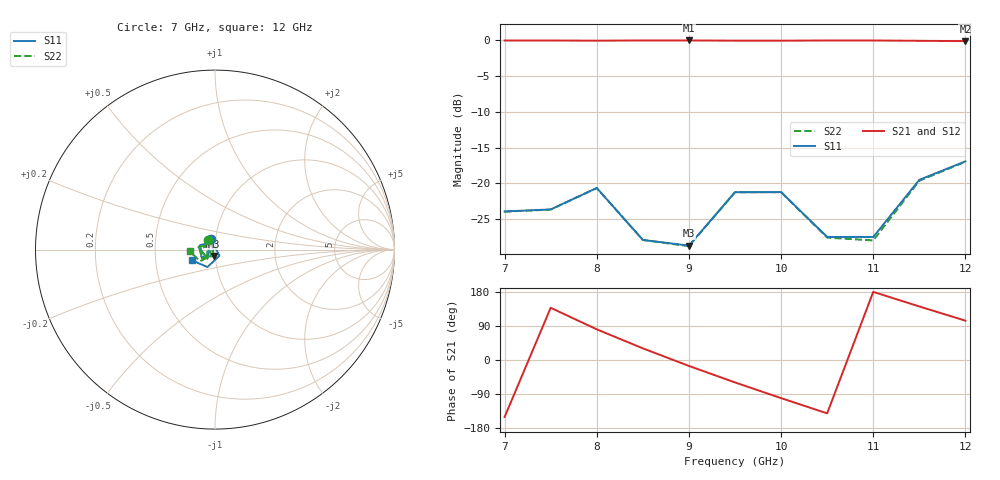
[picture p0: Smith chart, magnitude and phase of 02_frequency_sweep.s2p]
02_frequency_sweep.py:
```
#!/usr/bin/env python3
"""
Example 02: Frequency Sweep Analysis

This example demonstrates broadband S-parameter analysis across the WR-90
waveguide passband (7-12 GHz), computing S-parameters at multiple frequencies
and plotting the results.

Steps:
1. Load mesh and set up ports
2. Sweep frequency from 7 to 12 GHz
3. Compute S-parameters at each frequency point
4. Plot |S11| and |S21| vs frequency
5. Export to Touchstone format

Requirements:
    - EdgeFEM built with EDGEFEM_PYTHON=ON
    - matplotlib for plotting (optional)
    - Mesh file: examples/rect_waveguide.msh
"""

import numpy as np
from pathlib import Path
import sys

try:
    import pyedgefem as em
except ImportError:
    print("Error: pyedgefem not found. Build EdgeFEM with -DEDGEFEM_PYTHON=ON")
    raise


def main():
    """Run frequency sweep analysis."""

    script_dir = Path(__file__).parent

    print("=" * 60)
    print("EdgeFEM Example 02: Frequency Sweep Analysis")
    print("=" * 60)

    # ========================================================================
    # STEP 1: Load Mesh and Set Up Ports
    # ========================================================================
    print("\n1. Setting up simulation...")

    mesh_path = script_dir / "rect_waveguide.msh"
    mesh = em.load_gmsh(str(mesh_path))
    bc = em.build_edge_pec(mesh, 1)

    # WR-90 waveguide
    a = 0.02286  # width
    b = 0.01016  # height
    L = 0.05     # length
    port = em.RectWaveguidePort(a, b)

    # Extract port surfaces
    port1_surface = em.extract_surface_mesh(mesh, 2)
    port2_surface = em.extract_surface_mesh(mesh, 3)

    # Compute eigenvector (shared across frequencies for same mode)
    kc_te10 = np.pi / a
    kc_sq = kc_te10 ** 2
    pec_edges_set = set(bc.dirichlet_edges)
    eigenvector = em.compute_te_eigenvector(mesh, pec_edges_set, kc_sq)

    print(f"   Mesh: {len(mesh.tets)} tets, {len(mesh.edges)} edges")
    print(f"   Eigenvector computed")

    # ========================================================================
    # STEP 2: Define Frequency Sweep
    # ========================================================================
    print("\n2. Defining frequency sweep...")

    c0 = 299792458
    fc_te10 = c0 / (2 * a)

    # Sweep from 7 to 12 GHz (11 points)
    freq_start = 7e9
    freq_stop = 12e9
    n_points = 11
    frequencies = np.linspace(freq_start, freq_stop, n_points)

    print(f"   TE10 cutoff: {fc_te10/1e9:.2f} GHz")
    print(f"   Frequency range: {freq_start/1e9:.1f} - {freq_stop/1e9:.1f} GHz")
    print(f"   Number of points: {n_points}")

    # ========================================================================
    # STEP 3: Compute S-Parameters at Each Frequency
    # ========================================================================
    print("\n3. Computing S-parameters...")
    print(f"   {'Freq(GHz)':<12} {'|S11|':<10} {'|S21|':<10} {'Phase(S21)':<12} Status")
    print("   " + "-" * 52)

    S_matrices = []
    s11_data = []
    s21_data = []
    s21_phase_data = []

    for freq in frequencies:
        # Build ports for this frequency
        mode1 = em.solve_te10_mode(port, freq)
        mode2 = em.solve_te10_mode(port, freq)

        wp1 = em.build_wave_port_from_eigenvector(mesh, port1_surface, eigenvector, mode1, pec_edges_set)
        wp2 = em.build_wave_port_from_eigenvector(mesh, port2_surface, eigenvector, mode2, pec_edges_set)

        # Set up parameters
        params = em.MaxwellParams()
        params.omega = 2 * np.pi * freq

        # Calculate S-parameters
        S = em.calculate_sparams_eigenmode(mesh, params, bc, [wp1, wp2])
        S_matrices.append(S)

        # Extract values
        s11 = abs(S[0, 0])
        s21 = abs(S[1, 0])
        phase_s21 = np.angle(S[1, 0]) * 180 / np.pi

        s11_data.append(s11)
        s21_data.append(s21)
        s21_phase_data.append(phase_s21)

        # Status
        status = "OK" if s21 > 0.9 and s11 < 0.15 else "CHECK"
        print(f"   {freq/1e9:<12.2f} {s11:<10.4f} {s21:<10.4f} {phase_s21:<12.1f} {status}")

    # ========================================================================
    # STEP 4: Plot Results (if matplotlib available)
    # ========================================================================
    print("\n4. Generating plots...")

    try:
        import matplotlib
        matplotlib.use('Agg')  # Use non-interactive backend
        import matplotlib.pyplot as plt

        fig, axes = plt.subplots(2, 2, figsize=(12, 8))
        freq_ghz = frequencies / 1e9

        # |S11| in dB
        ax1 = axes[0, 0]
        s11_db = 20 * np.log10(np.maximum(s11_data, 1e-6))
        ax1.plot(freq_ghz, s11_db, 'b-o', linewidth=2, markersize=6)
        ax1.set_xlabel('Frequency (GHz)')
        ax1.set_ylabel('|S11| (dB)')
        ax1.set_title('Return Loss')
        ax1.grid(True, alpha=0.3)
        ax1.set_ylim([-40, 0])

        # |S21| in dB
        ax2 = axes[0, 1]
        s21_db = 20 * np.log10(np.maximum(s21_data, 1e-6))
        ax2.plot(freq_ghz, s21_db, 'r-o', linewidth=2, markersize=6)
        ax2.set_xlabel('Frequency (GHz)')
        ax2.set_ylabel('|S21| (dB)')
        ax2.set_title('Insertion Loss')
        ax2.grid(True, alpha=0.3)
        ax2.set_ylim([-1, 0.1])

        # |S21| linear
        ax3 = axes[1, 0]
        ax3.plot(freq_ghz, s21_data, 'g-o', linewidth=2, markersize=6)
        ax3.axhline(y=0.95, color='k', linestyle='--', alpha=0.5, label='Target (0.95)')
        ax3.set_xlabel('Frequency (GHz)')
        ax3.set_ylabel('|S21|')
        ax3.set_title('Transmission Magnitude')
        ax3.grid(True, alpha=0.3)
        ax3.set_ylim([0.9, 1.01])
        ax3.legend()

        # Phase
        ax4 = axes[1, 1]
        ax4.plot(freq_ghz, s21_phase_data, 'm-o', linewidth=2, markersize=6)
        ax4.set_xlabel('Frequency (GHz)')
        ax4.set_ylabel('Phase(S21) (degrees)')
        ax4.set_title('Transmission Phase')
        ax4.grid(True, alpha=0.3)

        plt.tight_layout()
        plot_path = script_dir / "02_frequency_sweep.png"
        plt.savefig(plot_path, dpi=150)
        print(f"   Plot saved: {plot_path}")
        plt.close()

    except ImportError:
        print("   matplotlib not available, skipping plots")

    # ========================================================================
    # STEP 5: Export to Touchstone Format
    # ========================================================================
    print("\n5. Exporting to Touchstone format...")
    output_path = script_dir / "02_frequency_sweep.s2p"
    em.write_touchstone_nport(str(output_path), list(frequencies), S_matrices)
    print(f"   Written: {output_path}")

    # ========================================================================
    # Summary
    # ========================================================================
    print("\n" + "=" * 60)
    print("Summary")
    print("=" * 60)
    print(f"Frequency range: {freq_start/1e9:.1f} - {freq_stop/1e9:.1f} GHz")
    print(f"Number of points: {n_points}")
    print(f"Average |S21|: {np.mean(s21_data):.4f}")
    print(f"Min |S21|: {np.min(s21_data):.4f} at {frequencies[np.argmin(s21_data)]/1e9:.1f} GHz")
    print(f"Max |S11|: {np.max(s11_data):.4f} at {frequencies[np.argmax(s11_data)]/1e9:.1f} GHz")

    all_pass = all(s21 > 0.9 and s11 < 0.15 for s11, s21 in zip(s11_data, s21_data))
    print(f"\nAll points meet criteria (|S21| > 0.9, |S11| < 0.15): {'YES' if all_pass else 'NO'}")

    print("\nDemo complete.")


if __name__ == "__main__":
    main()
```
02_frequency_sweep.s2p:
! Touchstone file generated by VectorEM
! Number of ports: 2
# Hz S RI R 50
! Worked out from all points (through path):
!   11 points, 7 GHz to 12 GHz, reference 50 ohm
!   highest |S21| = -0.02 dB at 9 GHz (marker M1); lowest = -0.1 dB at 12 GHz (marker M2)
!   lowest |S11| = -28.7 dB at 9 GHz (marker M3), VSWR 1.08, Z = 49.2 - j3.55 ohm
!   |S11| at or under -10 dB: start of sweep to end of sweep
!   |S22| runs from -28.8 to -17.0 dB; largest |S21 - S12| = 2.1e-08
7e9  -0.0231 0.0594  -0.8662 -0.4937  -0.8662 -0.4937  -0.038 0.0509
7.5e9  -0.0417 -0.0509  -0.7383 0.6694  -0.7383 0.6694  -0.0451 -0.0477
8e9  -0.0915 0.0164  0.1569 0.9817  0.1569 0.9817  -0.092 0.013
8.5e9  -0.017 0.0366  0.8576 0.5097  0.8576 0.5097  -0.0222 0.0336
9e9  -0.00718 -0.0361  0.9607 -0.2694  0.9607 -0.2694  -0.00958 -0.0352
9.5e9  -0.0756 -0.0428  0.5096 -0.8539  0.5096 -0.8539  -0.0722 -0.0482
1e10  -0.0832 0.0251  -0.1832 -0.9772  -0.1832 -0.9772  -0.0868 0.00637
1.05e10  -0.0108 0.0409  -0.7732 -0.6296  -0.7732 -0.6296  -0.0366 0.0202
1.1e10  0.0242 -0.0346  -0.9971 0.00406  -0.9971 0.00406  -0.0211 -0.034
1.15e10  -0.0422 -0.0972  -0.7744 0.6202  -0.7744 0.6202  -0.0824 -0.0642
1.2e10  -0.1298 -0.0592  -0.2356 0.9587  -0.2356 0.9587  -0.1414 -0.0102
